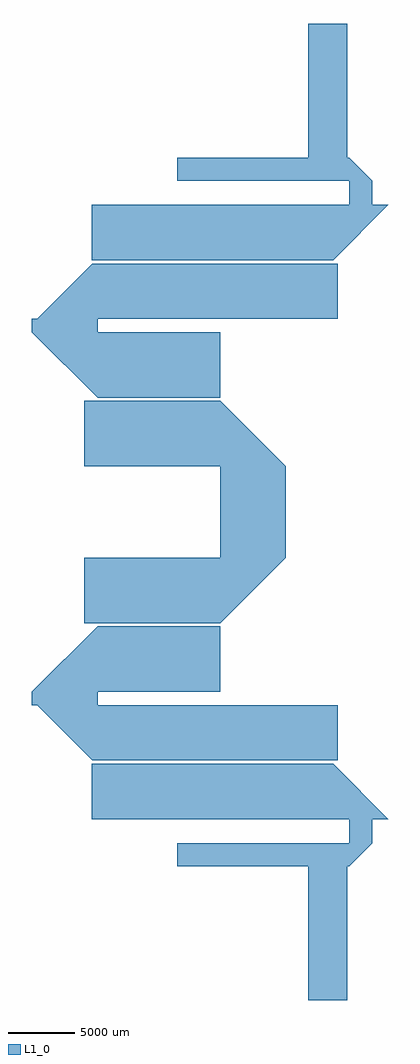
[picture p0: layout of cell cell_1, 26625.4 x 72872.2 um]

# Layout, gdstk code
from math import pi, radians
import gdstk
lib = gdstk.Library(unit=1e-6, precision=1e-07)
def R(c, l, rs):  # rectangles x0, y0, x1, y1
    for r in rs: c.add(gdstk.rectangle(r[:2], r[2:], *l))
def P(c, l, *ps):  # polygons
    for p in ps: c.add(gdstk.Polygon(p, *l))
L1_0 = (1, 0)

mlin_0 = lib.new_cell('MLIN_0')
R(mlin_0, L1_0, [(0,-1465,10000,1465)])

mtee_ads_1 = lib.new_cell('MTEE_ADS_1')
R(mtee_ads_1, L1_0, [(0,-856.6,2930,856.6)])

mlin_2 = lib.new_cell('MLIN_2')
R(mlin_2, L1_0, [(0,-856.6,136.3,856.6)])

mbend2_3 = lib.new_cell('MBEND2_3')
P(mbend2_3, L1_0, [(0,856.6),(0,-856.6),(1713.3,856.6)])

mlin_4 = lib.new_cell('MLIN_4')
R(mlin_4, L1_0, [(0,-856.6,1800,856.6)])

mbend2_5 = lib.new_cell('MBEND2_5')
P(mbend2_5, L1_0, [(0,2056.2),(0,-2056.2),(4112.4,2056.2)])

mclin_6 = lib.new_cell('MCLIN_6')
R(mclin_6, L1_0, [(0,-6429.6,17997.4,-2317.1), (0,-2056.2,17997.4,2056.2)])

mlin_7 = lib.new_cell('MLIN_7')
R(mlin_7, L1_0, [(0,-2459.4,1000,2459.4)])

mbend2_8 = lib.new_cell('MBEND2_8')
P(mbend2_8, L1_0, [(0,2459.4),(0,-2459.4),(4918.7,2459.4)])

mclin_9 = lib.new_cell('MCLIN_9')
R(mclin_9, L1_0, [(0,-7578.3,9143,-2659.5), (0,-2459.4,9143,2459.4)])

mlin_10 = lib.new_cell('MLIN_10')
R(mlin_10, L1_0, [(0,-2459.4,3399.5,2459.4)])

mlef_11 = lib.new_cell('MLEF_11')
R(mlef_11, L1_0, [(0,-2459.4,1.3,2459.4)])

mlef_12 = lib.new_cell('MLEF_12')
R(mlef_12, L1_0, [(0,-2459.4,999.2,2459.4)])

mlef_13 = lib.new_cell('MLEF_13')
R(mlef_13, L1_0, [(0,-2056.2,28,2056.2)])

mlef_14 = lib.new_cell('MLEF_14')
R(mlef_14, L1_0, [(0,-2056.2,354.1,2056.2)])

mlef_15 = lib.new_cell('MLEF_15')
R(mlef_15, L1_0, [(0,-856.6,9771.4,856.6)])

half_filter_v2 = lib.new_cell('half_filter_v2')
half_filter_v2.add(gdstk.Reference(mlin_0, (0,0)))
half_filter_v2.add(gdstk.Reference(mtee_ads_1, (10856.6,1465), rotation=3*pi/2))
half_filter_v2.add(gdstk.Reference(mlin_2, (10856.6,1601.3), rotation=3*pi/2))
half_filter_v2.add(gdstk.Reference(mbend2_3, (11713.2,2457.9), rotation=pi))
half_filter_v2.add(gdstk.Reference(mlin_4, (11713.2,2457.9)))
half_filter_v2.add(gdstk.Reference(mbend2_5, (19942.7,-17595.7), rotation=3*pi/2))
half_filter_v2.add(gdstk.Reference(mbend2_5, (15569.4,401.7), rotation=pi/2))
half_filter_v2.add(gdstk.Reference(mclin_6, (19942.7,401.7), rotation=3*pi/2))
half_filter_v2.add(gdstk.Reference(mlin_7, (21998.9,-19651.9)))
half_filter_v2.add(gdstk.Reference(mbend2_8, (33036.6,-5590.1), rotation=pi))
half_filter_v2.add(gdstk.Reference(mbend2_8, (22998.9,-19651.9)))
half_filter_v2.add(gdstk.Reference(mclin_9, (30577.2,-8049.5), rotation=3*pi/2))
half_filter_v2.add(gdstk.Reference(mlin_10, (33036.6,-5590.1)))
half_filter_v2.add(gdstk.Reference(mlef_11, (25458.3,-8049.5), rotation=pi/2))
half_filter_v2.add(gdstk.Reference(mlef_12, (30577.2,-17192.5), rotation=3*pi/2))
half_filter_v2.add(gdstk.Reference(mlef_13, (15569.4,-17595.7), rotation=3*pi/2))
half_filter_v2.add(gdstk.Reference(mlef_14, (19942.7,401.7), rotation=pi/2))
half_filter_v2.add(gdstk.Reference(mlef_15, (10856.6,-1465), rotation=3*pi/2))

cell_1 = lib.new_cell('cell_1')
cell_1.add(gdstk.Reference(half_filter_v2, (0,-72872.2), rotation=pi/2, x_reflection=True))
cell_1.add(gdstk.Reference(half_filter_v2, (0,0), rotation=3*pi/2))

lib.write_gds('cell_1.gds')
